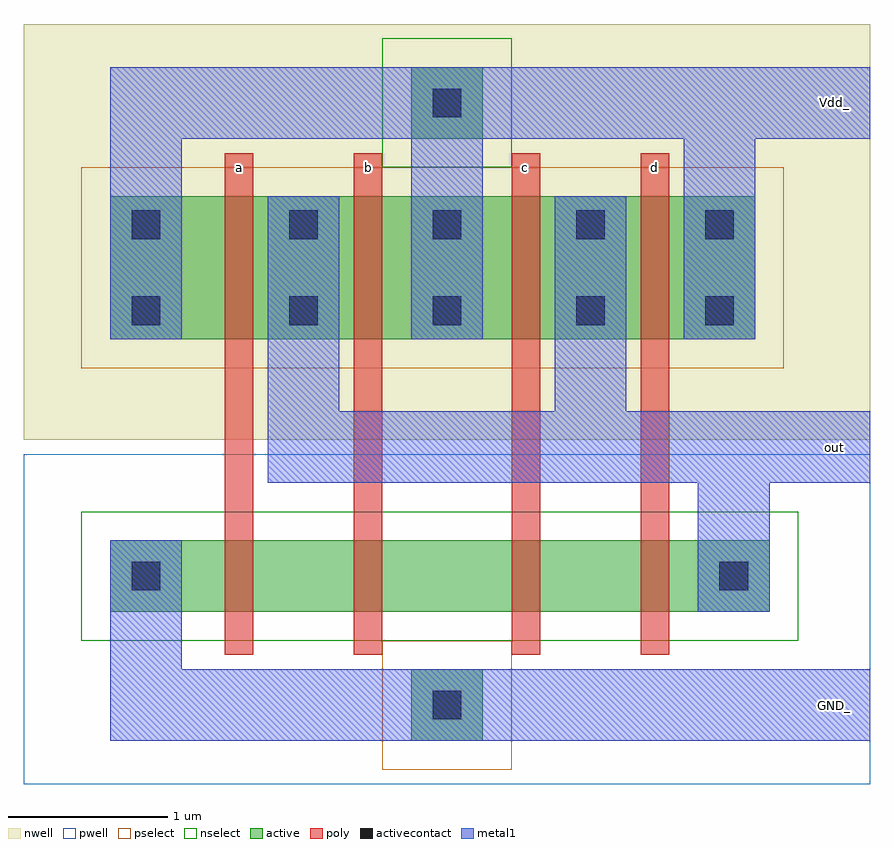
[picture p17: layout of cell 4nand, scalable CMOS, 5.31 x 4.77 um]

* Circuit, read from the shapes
.subckt 4nand GND_ Vdd_ a b c d out
M1 n1 a GND_ GND_ nfet w=0.45u l=0.18u
M2 n2 b n1 GND_ nfet w=0.45u l=0.18u
M3 n3 c n2 GND_ nfet w=0.45u l=0.18u
M4 out d n3 GND_ nfet w=0.45u l=0.18u
M5 out a Vdd_ Vdd_ pfet w=0.9u l=0.18u
M6 Vdd_ b out Vdd_ pfet w=0.9u l=0.18u
M7 out c Vdd_ Vdd_ pfet w=0.9u l=0.18u
M8 Vdd_ d out Vdd_ pfet w=0.9u l=0.18u
.ends

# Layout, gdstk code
import gdstk
lib = gdstk.Library(unit=1e-6, precision=1e-09)
def R(c, l, rs):  # rectangles x0, y0, x1, y1
    for r in rs: c.add(gdstk.rectangle(r[:2], r[2:], *l))
def A(c, l, x, y, w, h, nx, ny, dx, dy):  # array of equal rectangles
    R(c, l, [(x+i*dx, y+j*dy, x+i*dx+w, y+j*dy+h) for i in range(nx) for j in range(ny)])
pwell = (41, 0)
nwell = (42, 0)
active = (43, 0)
pselect = (44, 0)
nselect = (45, 0)
poly = (46, 0)
activecontact = (48, 0)
metal1 = (49, 0)

c_4nand = lib.new_cell('4nand')
R(c_4nand, pwell, [(6.48,2.7,11.79,4.77)])
R(c_4nand, nwell, [(6.48,4.86,11.79,7.47)])
R(c_4nand, active, [(8.91,2.97,9.36,3.42), (7.02,3.78,11.16,4.23), (7.02,5.49,11.07,6.39), (8.91,6.75,9.36,7.2)])
R(c_4nand, pselect, [(8.73,2.79,9.54,3.6), (6.84,5.31,11.25,6.57)])
R(c_4nand, nselect, [(6.84,3.6,11.34,4.41), (8.73,6.57,9.54,7.38)])
R(c_4nand, poly, [(7.74,3.51,7.92,6.66), (8.55,3.51,8.73,6.66), (9.54,3.51,9.72,6.66), (10.35,3.51,10.53,6.66)])
A(c_4nand, activecontact, 8.145, 5.58, 0.18, 0.18, 3, 2, 0.9, 0.54)
R(c_4nand, activecontact, [(9.045,3.105,9.225,3.285), (7.155,3.915,7.335,4.095), (10.845,3.915,11.025,4.095), (7.155,5.58,7.335,5.76), (10.755,5.58,10.935,5.76), (7.155,6.12,7.335,6.3), (10.755,6.12,10.935,6.3), (9.045,6.885,9.225,7.065)])
R(c_4nand, metal1, [(7.02,2.97,11.79,3.42), (7.02,3.42,7.47,4.23), (10.71,3.78,11.16,4.59), (8.01,4.59,11.79,5.04), (8.01,5.04,8.46,6.39), (9.81,5.04,10.26,6.39), (7.02,5.49,7.47,6.75), (8.91,5.49,9.36,6.75), (10.62,5.49,11.07,6.75), (7.02,6.75,11.79,7.2)])
c_4nand.add(gdstk.Label('b', (8.64,6.57), layer=46, texttype=0))
c_4nand.add(gdstk.Label('c', (9.63,6.57), layer=46, texttype=0))
c_4nand.add(gdstk.Label('a', (7.83,6.57), layer=46, texttype=0))
c_4nand.add(gdstk.Label('d', (10.44,6.57), layer=46, texttype=0))
c_4nand.add(gdstk.Label('GND_', (11.565,3.195), layer=49, texttype=0))
c_4nand.add(gdstk.Label('Vdd_', (11.565,6.975), layer=49, texttype=0))
c_4nand.add(gdstk.Label('out', (11.565,4.815), layer=49, texttype=0))

lib.write_gds('4nand.gds')
